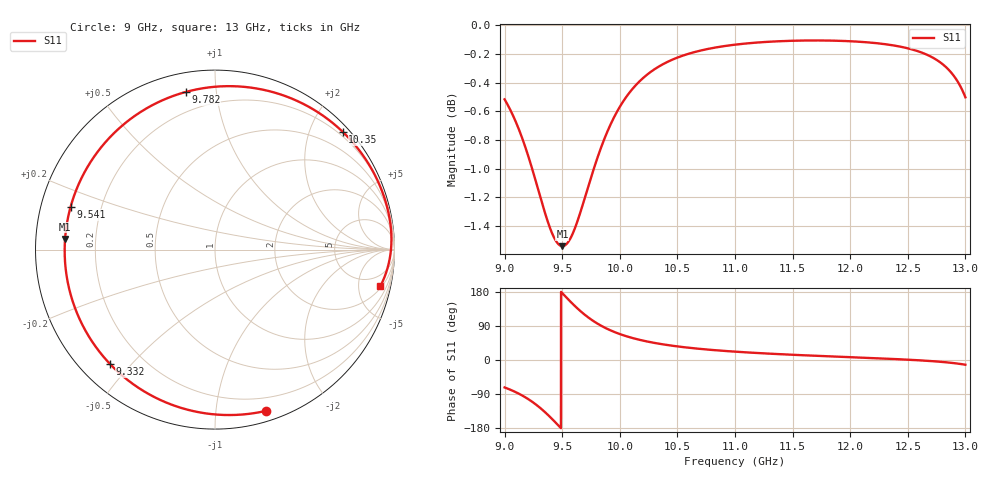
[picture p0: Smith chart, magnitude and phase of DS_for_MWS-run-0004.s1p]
! TOUCHSTONE file generated by CST DESIGN STUDIO
! Date and time: Tue Feb  4 18:22:11 2025
! Project name: C:\Work\MatlabApps\UnitCellOptimizationMatlab\CST\unitcell.cst
! Tree item: Tasks\Sweep1\SPara1\S-Parameters
! Header version: 2024
! Port assignment regex: !\s*Touchstone port\s*([0-9]+)\s*=\s*(CST MWS port|CST DES external port|CST DES block port)\s*(.+)\s* \(\"(.*)\"\)(\s*mode\s*([0-9]+))?.*
! Touchstone port assignment:
! Touchstone port 1 = CST DES external port 1 ("")
# GHz S MA R 50
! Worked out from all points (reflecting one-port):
!   4001 points, 9 GHz to 13 GHz, reference 50 ohm
!   lowest |S11| = -1.5 dB at 9.502 GHz (marker M1), VSWR 11.30, Z = 4.43 + j1.76 ohm
!   phase of S11 starts at -72 deg and turns -300 deg over the sweep
!   S11 on the Smith chart (normalised r, x): 9 GHz: 0.08, -1.36; 9.332 GHz: 0.09, -0.44; 9.541 GHz: 0.09, +0.14; 9.782 GHz: 0.10, +0.83; 10.35 GHz: 0.12, +2.55; 13 GHz: 2.28, -8.54
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9  0.9423 -72.4
9.087  0.9274 -83.4
9.191  0.904 -100.5
9.264  0.8842 -115.7
9.332  0.8651 -132.5
9.376  0.8538 -144.8
9.422  0.8444 -158.6
9.462  0.8392 -171.2
9.5  0.8374 176.6
9.502  0.8374 175.9
9.541  0.8392 163.5
9.604  0.8483 144.2
9.661  0.8614 128.3
9.719  0.8766 114.0
9.782  0.8932 100.6
9.876  0.9149 84.4
10  0.9367 68.5
10.075  0.9464 61.0
10.157  0.9548 54.3
10.346  0.9679 42.7
10.5  0.9745 35.9
10.722  0.9804 28.6
11  0.9846 22.0
11.5  0.9877 13.8
12  0.9874 7.4
12.5  0.9818 0.8
12.788  0.9703 -4.8
13  0.9439 -12.5
